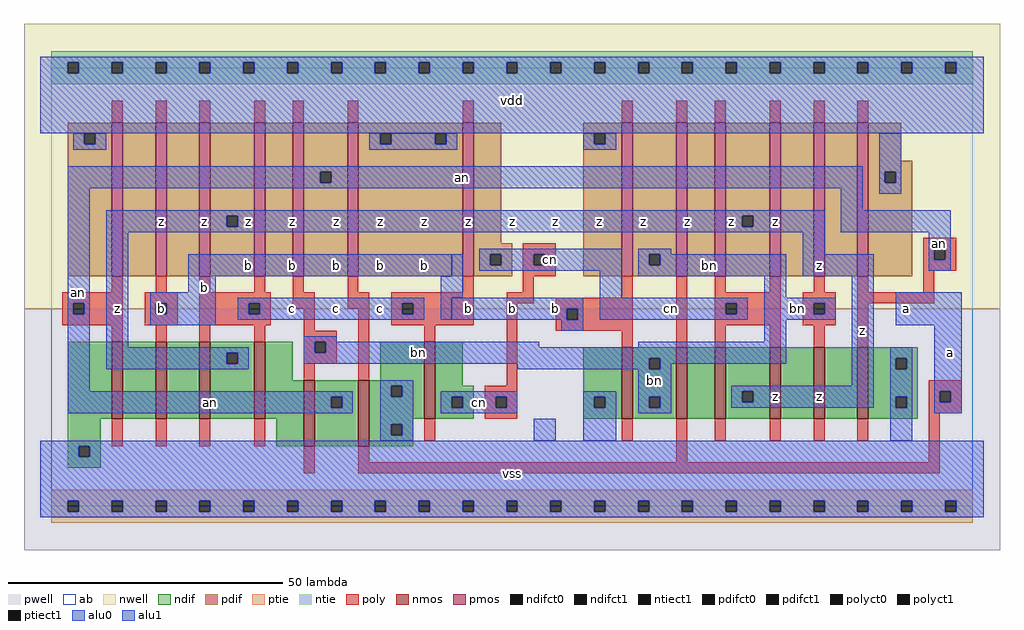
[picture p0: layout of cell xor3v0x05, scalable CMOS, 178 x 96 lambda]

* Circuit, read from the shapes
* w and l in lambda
.subckt xor3v0x05 a an b bn c cn vdd vss z
M1 n1 an vss vss nfet w=14 l=2
M2 n2 b n1 vss nfet w=14 l=2
M3 z c n2 vss nfet w=14 l=2
M4 n3 c z vss nfet w=14 l=2
M5 an bn n3 vss nfet w=12 l=2
M6 vss a an vss nfet w=12 l=2
M7 cn c vss vss nfet w=14 l=2
M8 bn b vss vss nfet w=13 l=2
M9 n4 a bn vss nfet w=13 l=2
M10 z cn n4 vss nfet w=13 l=2
M11 n5 cn z vss nfet w=13 l=2
M12 n6 bn n5 vss nfet w=13 l=2
M13 vss an n6 vss nfet w=13 l=2
M14 n7 an vdd vdd pfet w=28 l=2
M15 n8 b n7 vdd pfet w=28 l=2
M16 z c n8 vdd pfet w=28 l=2
M17 n9 c z vdd pfet w=28 l=2
M18 an bn n9 vdd pfet w=28 l=2
M19 vdd a an vdd pfet w=28 l=2
M20 cn c vdd vdd pfet w=28 l=2
M21 bn b vdd vdd pfet w=28 l=2
M22 n10 a bn vdd pfet w=28 l=2
M23 z cn n10 vdd pfet w=28 l=2
M24 n11 cn z vdd pfet w=28 l=2
M25 n12 bn n11 vdd pfet w=28 l=2
M26 vdd an n12 vdd pfet w=28 l=2
.ends

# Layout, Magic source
magic
tech scmos
<< ab >>
rect 0 0 168 80
<< nwell >>
rect -5 36 173 88
<< pwell >>
rect -5 -8 173 36
<< poly >>
rect 11 70 13 74
rect 19 70 21 74
rect 27 70 29 74
rect 37 70 39 74
rect 44 70 46 74
rect 54 70 56 74
rect 75 70 77 74
rect 104 70 106 74
rect 114 70 116 74
rect 121 70 123 74
rect 131 70 133 74
rect 139 70 141 74
rect 147 70 149 74
rect 86 46 92 48
rect 86 44 88 46
rect 90 44 92 46
rect 86 42 92 44
rect 159 47 165 49
rect 159 45 161 47
rect 163 45 165 47
rect 159 43 165 45
rect 11 39 13 42
rect 19 39 21 42
rect 27 39 29 42
rect 37 39 39 42
rect 44 39 46 42
rect 54 39 56 42
rect 75 39 77 42
rect 86 39 88 42
rect 2 37 13 39
rect 2 35 4 37
rect 6 35 13 37
rect 2 33 13 35
rect 17 37 23 39
rect 17 35 19 37
rect 21 35 23 37
rect 17 33 23 35
rect 27 37 40 39
rect 27 35 36 37
rect 38 35 40 37
rect 44 36 48 39
rect 54 36 58 39
rect 27 33 40 35
rect 11 30 13 33
rect 19 30 21 33
rect 27 30 29 33
rect 37 30 39 33
rect 46 32 48 36
rect 46 30 52 32
rect 46 28 48 30
rect 50 28 52 30
rect 46 26 52 28
rect 46 23 48 26
rect 56 23 58 36
rect 62 37 77 39
rect 62 35 64 37
rect 66 35 77 37
rect 62 33 77 35
rect 83 37 88 39
rect 104 38 106 42
rect 68 30 70 33
rect 11 11 13 16
rect 19 11 21 16
rect 27 11 29 16
rect 37 11 39 16
rect 83 22 85 37
rect 92 36 106 38
rect 92 34 94 36
rect 96 34 106 36
rect 92 32 106 34
rect 104 29 106 32
rect 114 29 116 42
rect 121 39 123 42
rect 131 39 133 42
rect 139 39 141 42
rect 147 39 149 42
rect 159 39 161 43
rect 121 37 133 39
rect 121 35 123 37
rect 125 35 133 37
rect 121 33 133 35
rect 137 37 143 39
rect 137 35 139 37
rect 141 35 143 37
rect 137 33 143 35
rect 147 37 161 39
rect 121 29 123 33
rect 131 29 133 33
rect 139 29 141 33
rect 147 29 149 37
rect 79 20 85 22
rect 79 18 81 20
rect 83 18 85 20
rect 79 16 85 18
rect 160 21 166 23
rect 160 19 162 21
rect 164 19 166 21
rect 160 17 166 19
rect 68 12 70 16
rect 104 12 106 16
rect 46 6 48 11
rect 56 8 58 11
rect 114 8 116 16
rect 121 12 123 16
rect 131 12 133 16
rect 139 12 141 16
rect 147 12 149 16
rect 160 8 162 17
rect 56 6 162 8
<< ndif >>
rect 3 16 11 30
rect 13 16 19 30
rect 21 16 27 30
rect 29 28 37 30
rect 29 26 32 28
rect 34 26 37 28
rect 29 16 37 26
rect 39 23 44 30
rect 60 23 68 30
rect 39 16 46 23
rect 3 11 9 16
rect 41 11 46 16
rect 48 20 56 23
rect 48 18 51 20
rect 53 18 56 20
rect 48 11 56 18
rect 58 22 68 23
rect 58 20 62 22
rect 64 20 68 22
rect 58 16 68 20
rect 70 22 75 30
rect 70 20 77 22
rect 70 18 73 20
rect 75 18 77 20
rect 70 16 77 18
rect 97 20 104 29
rect 97 18 99 20
rect 101 18 104 20
rect 97 16 104 18
rect 106 27 114 29
rect 106 25 109 27
rect 111 25 114 27
rect 106 20 114 25
rect 106 18 109 20
rect 111 18 114 20
rect 106 16 114 18
rect 116 16 121 29
rect 123 21 131 29
rect 123 19 126 21
rect 128 19 131 21
rect 123 16 131 19
rect 133 16 139 29
rect 141 16 147 29
rect 149 27 158 29
rect 149 25 154 27
rect 156 25 158 27
rect 149 20 158 25
rect 149 18 154 20
rect 156 18 158 20
rect 149 16 158 18
rect 58 15 66 16
rect 58 13 62 15
rect 64 13 66 15
rect 58 11 66 13
rect 3 9 5 11
rect 7 9 9 11
rect 3 7 9 9
<< pdif >>
rect 3 68 11 70
rect 3 66 6 68
rect 8 66 11 68
rect 3 42 11 66
rect 13 42 19 70
rect 21 42 27 70
rect 29 53 37 70
rect 29 51 32 53
rect 34 51 37 53
rect 29 42 37 51
rect 39 42 44 70
rect 46 61 54 70
rect 46 59 49 61
rect 51 59 54 61
rect 46 42 54 59
rect 56 68 75 70
rect 56 66 60 68
rect 62 66 70 68
rect 72 66 75 68
rect 56 42 75 66
rect 77 48 82 70
rect 97 68 104 70
rect 97 66 99 68
rect 101 66 104 68
rect 77 46 84 48
rect 77 44 80 46
rect 82 44 84 46
rect 77 42 84 44
rect 97 42 104 66
rect 106 46 114 70
rect 106 44 109 46
rect 111 44 114 46
rect 106 42 114 44
rect 116 42 121 70
rect 123 53 131 70
rect 123 51 126 53
rect 128 51 131 53
rect 123 42 131 51
rect 133 42 139 70
rect 141 42 147 70
rect 149 63 155 70
rect 149 61 157 63
rect 149 59 152 61
rect 154 59 157 61
rect 149 42 157 59
<< alu1 >>
rect -2 81 170 82
rect -2 79 3 81
rect 5 79 11 81
rect 13 79 19 81
rect 21 79 27 81
rect 29 79 35 81
rect 37 79 43 81
rect 45 79 51 81
rect 53 79 59 81
rect 61 79 67 81
rect 69 79 75 81
rect 77 79 83 81
rect 85 79 91 81
rect 93 79 99 81
rect 101 79 107 81
rect 109 79 115 81
rect 117 79 123 81
rect 125 79 131 81
rect 133 79 139 81
rect 141 79 147 81
rect 149 79 155 81
rect 157 79 163 81
rect 165 79 170 81
rect -2 68 170 79
rect 10 53 141 54
rect 10 51 32 53
rect 34 51 126 53
rect 128 51 141 53
rect 10 50 141 51
rect 10 29 14 50
rect 25 42 73 46
rect 25 39 30 42
rect 18 37 30 39
rect 137 46 141 50
rect 137 42 150 46
rect 18 35 19 37
rect 21 35 30 37
rect 18 33 30 35
rect 34 37 68 38
rect 34 35 36 37
rect 38 35 64 37
rect 66 35 68 37
rect 34 34 68 35
rect 73 36 97 38
rect 73 34 94 36
rect 96 34 97 36
rect 93 32 97 34
rect 10 28 36 29
rect 10 26 32 28
rect 34 26 36 28
rect 10 25 36 26
rect 146 22 150 42
rect 154 33 166 39
rect 124 21 150 22
rect 124 19 126 21
rect 128 19 150 21
rect 124 18 150 19
rect 161 21 166 33
rect 161 19 162 21
rect 164 19 166 21
rect 161 17 166 19
rect -2 11 170 12
rect -2 9 5 11
rect 7 9 170 11
rect -2 1 170 9
rect -2 -1 3 1
rect 5 -1 11 1
rect 13 -1 19 1
rect 21 -1 27 1
rect 29 -1 35 1
rect 37 -1 43 1
rect 45 -1 51 1
rect 53 -1 59 1
rect 61 -1 67 1
rect 69 -1 75 1
rect 77 -1 83 1
rect 85 -1 91 1
rect 93 -1 99 1
rect 101 -1 107 1
rect 109 -1 115 1
rect 117 -1 123 1
rect 125 -1 131 1
rect 133 -1 139 1
rect 141 -1 147 1
rect 149 -1 155 1
rect 157 -1 163 1
rect 165 -1 170 1
rect -2 -2 170 -1
<< ptie >>
rect 0 1 168 3
rect 0 -1 3 1
rect 5 -1 11 1
rect 13 -1 19 1
rect 21 -1 27 1
rect 29 -1 35 1
rect 37 -1 43 1
rect 45 -1 51 1
rect 53 -1 59 1
rect 61 -1 67 1
rect 69 -1 75 1
rect 77 -1 83 1
rect 85 -1 91 1
rect 93 -1 99 1
rect 101 -1 107 1
rect 109 -1 115 1
rect 117 -1 123 1
rect 125 -1 131 1
rect 133 -1 139 1
rect 141 -1 147 1
rect 149 -1 155 1
rect 157 -1 163 1
rect 165 -1 168 1
rect 0 -3 168 -1
<< ntie >>
rect 0 81 168 83
rect 0 79 3 81
rect 5 79 11 81
rect 13 79 19 81
rect 21 79 27 81
rect 29 79 35 81
rect 37 79 43 81
rect 45 79 51 81
rect 53 79 59 81
rect 61 79 67 81
rect 69 79 75 81
rect 77 79 83 81
rect 85 79 91 81
rect 93 79 99 81
rect 101 79 107 81
rect 109 79 115 81
rect 117 79 123 81
rect 125 79 131 81
rect 133 79 139 81
rect 141 79 147 81
rect 149 79 155 81
rect 157 79 163 81
rect 165 79 168 81
rect 0 77 168 79
<< nmos >>
rect 11 16 13 30
rect 19 16 21 30
rect 27 16 29 30
rect 37 16 39 30
rect 46 11 48 23
rect 56 11 58 23
rect 68 16 70 30
rect 104 16 106 29
rect 114 16 116 29
rect 121 16 123 29
rect 131 16 133 29
rect 139 16 141 29
rect 147 16 149 29
<< pmos >>
rect 11 42 13 70
rect 19 42 21 70
rect 27 42 29 70
rect 37 42 39 70
rect 44 42 46 70
rect 54 42 56 70
rect 75 42 77 70
rect 104 42 106 70
rect 114 42 116 70
rect 121 42 123 70
rect 131 42 133 70
rect 139 42 141 70
rect 147 42 149 70
<< polyct0 >>
rect 88 44 90 46
rect 161 45 163 47
rect 4 35 6 37
rect 48 28 50 30
rect 123 35 125 37
rect 139 35 141 37
rect 81 18 83 20
<< polyct1 >>
rect 19 35 21 37
rect 36 35 38 37
rect 64 35 66 37
rect 94 34 96 36
rect 162 19 164 21
<< ndifct0 >>
rect 51 18 53 20
rect 62 20 64 22
rect 73 18 75 20
rect 99 18 101 20
rect 109 25 111 27
rect 109 18 111 20
rect 154 25 156 27
rect 154 18 156 20
rect 62 13 64 15
<< ndifct1 >>
rect 32 26 34 28
rect 126 19 128 21
rect 5 9 7 11
<< ntiect1 >>
rect 3 79 5 81
rect 11 79 13 81
rect 19 79 21 81
rect 27 79 29 81
rect 35 79 37 81
rect 43 79 45 81
rect 51 79 53 81
rect 59 79 61 81
rect 67 79 69 81
rect 75 79 77 81
rect 83 79 85 81
rect 91 79 93 81
rect 99 79 101 81
rect 107 79 109 81
rect 115 79 117 81
rect 123 79 125 81
rect 131 79 133 81
rect 139 79 141 81
rect 147 79 149 81
rect 155 79 157 81
rect 163 79 165 81
<< ptiect1 >>
rect 3 -1 5 1
rect 11 -1 13 1
rect 19 -1 21 1
rect 27 -1 29 1
rect 35 -1 37 1
rect 43 -1 45 1
rect 51 -1 53 1
rect 59 -1 61 1
rect 67 -1 69 1
rect 75 -1 77 1
rect 83 -1 85 1
rect 91 -1 93 1
rect 99 -1 101 1
rect 107 -1 109 1
rect 115 -1 117 1
rect 123 -1 125 1
rect 131 -1 133 1
rect 139 -1 141 1
rect 147 -1 149 1
rect 155 -1 157 1
rect 163 -1 165 1
<< pdifct0 >>
rect 6 66 8 68
rect 49 59 51 61
rect 60 66 62 68
rect 70 66 72 68
rect 99 66 101 68
rect 80 44 82 46
rect 109 44 111 46
rect 152 59 154 61
<< pdifct1 >>
rect 32 51 34 53
rect 126 51 128 53
<< alu0 >>
rect 4 66 6 68
rect 8 66 10 68
rect 4 65 10 66
rect 58 66 60 68
rect 62 66 70 68
rect 72 66 74 68
rect 58 65 74 66
rect 97 66 99 68
rect 101 66 103 68
rect 97 65 103 66
rect 3 61 148 62
rect 3 59 49 61
rect 51 59 148 61
rect 3 58 148 59
rect 3 37 7 58
rect 144 54 148 58
rect 151 61 155 68
rect 151 59 152 61
rect 154 59 155 61
rect 151 57 155 59
rect 3 35 4 37
rect 6 35 7 37
rect 3 21 7 35
rect 144 50 164 54
rect 78 46 104 47
rect 73 42 75 46
rect 78 44 80 46
rect 82 44 88 46
rect 90 44 104 46
rect 78 43 104 44
rect 71 38 75 42
rect 100 38 104 43
rect 107 46 113 47
rect 160 47 164 50
rect 107 44 109 46
rect 111 44 134 46
rect 107 42 134 44
rect 160 45 161 47
rect 163 45 164 47
rect 160 43 164 45
rect 130 38 134 42
rect 71 34 73 38
rect 100 37 127 38
rect 100 35 123 37
rect 125 35 127 37
rect 100 34 127 35
rect 130 37 143 38
rect 130 35 139 37
rect 141 35 143 37
rect 130 34 143 35
rect 46 30 52 31
rect 130 30 134 34
rect 46 28 48 30
rect 50 29 89 30
rect 107 29 134 30
rect 50 28 134 29
rect 46 27 134 28
rect 46 26 109 27
rect 85 25 109 26
rect 111 26 134 27
rect 111 25 113 26
rect 60 22 66 23
rect 3 20 55 21
rect 3 18 51 20
rect 53 18 55 20
rect 3 17 55 18
rect 60 20 62 22
rect 64 20 66 22
rect 60 15 66 20
rect 71 20 85 21
rect 71 18 73 20
rect 75 18 81 20
rect 83 18 85 20
rect 71 17 85 18
rect 97 20 103 21
rect 97 18 99 20
rect 101 18 103 20
rect 60 13 62 15
rect 64 13 66 15
rect 60 12 66 13
rect 88 12 92 16
rect 97 12 103 18
rect 107 20 113 25
rect 107 18 109 20
rect 111 18 113 20
rect 153 27 157 29
rect 153 25 154 27
rect 156 25 157 27
rect 153 20 157 25
rect 153 18 154 20
rect 156 18 157 20
rect 107 17 113 18
rect 153 12 157 18
<< labels >>
rlabel alu0 5 39 5 39 6 an
rlabel alu0 29 19 29 19 6 an
rlabel alu0 67 28 67 28 6 bn
rlabel alu0 78 19 78 19 6 cn
rlabel alu0 110 23 110 23 6 bn
rlabel alu0 113 36 113 36 6 cn
rlabel alu0 91 45 91 45 6 cn
rlabel alu0 120 44 120 44 6 bn
rlabel alu0 136 36 136 36 6 bn
rlabel alu0 162 48 162 48 6 an
rlabel alu0 75 60 75 60 6 an
rlabel polyct1 20 36 20 36 6 b
rlabel alu1 28 40 28 40 6 b
rlabel alu1 12 36 12 36 6 z
rlabel alu1 20 52 20 52 6 z
rlabel alu1 28 52 28 52 6 z
rlabel alu1 36 44 36 44 6 b
rlabel alu1 44 36 44 36 6 c
rlabel alu1 44 44 44 44 6 b
rlabel alu1 52 36 52 36 6 c
rlabel alu1 52 44 52 44 6 b
rlabel alu1 60 36 60 36 6 c
rlabel alu1 60 44 60 44 6 b
rlabel alu1 36 52 36 52 6 z
rlabel alu1 44 52 44 52 6 z
rlabel alu1 52 52 52 52 6 z
rlabel alu1 60 52 60 52 6 z
rlabel alu1 84 6 84 6 6 vss
rlabel alu1 68 44 68 44 6 b
rlabel alu1 76 36 76 36 6 b
rlabel alu1 84 36 84 36 6 b
rlabel alu1 92 36 92 36 6 b
rlabel alu1 76 52 76 52 6 z
rlabel alu1 84 52 84 52 6 z
rlabel alu1 92 52 92 52 6 z
rlabel alu1 68 52 68 52 6 z
rlabel alu1 84 74 84 74 6 vdd
rlabel alu1 132 20 132 20 6 z
rlabel alu1 108 52 108 52 6 z
rlabel alu1 116 52 116 52 6 z
rlabel alu1 124 52 124 52 6 z
rlabel alu1 132 52 132 52 6 z
rlabel alu1 100 52 100 52 6 z
rlabel alu1 164 28 164 28 6 a
rlabel alu1 140 20 140 20 6 z
rlabel alu1 148 32 148 32 6 z
rlabel alu1 140 44 140 44 6 z
rlabel alu1 156 36 156 36 6 a
<< end >>
